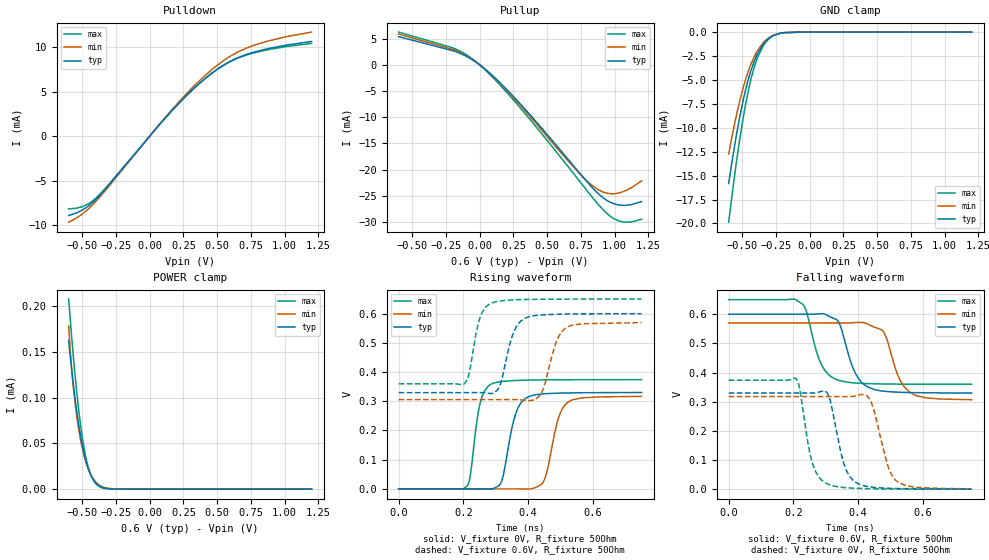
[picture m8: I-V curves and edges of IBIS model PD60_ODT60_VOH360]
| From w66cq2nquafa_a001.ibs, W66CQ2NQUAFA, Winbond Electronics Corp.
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[Model]   PD60_ODT60_VOH360
Model_type   I/O
Polarity   Non-Inverting
Enable   Active-Low
Vinl = 0.11
Vinh = 0.25
Vmeas = 0.18
Vref = 0
Cref = 0pF
Rref = 60
|   typ   min   max
C_comp   0.85pF   0.80pF   0.90pF
[Voltage Range]   0.6   0.57   0.65
[Temperature Range]   25   95   -40
[Pullup Reference]   0.6   0.57   0.65
[Pulldown Reference]   0   0   0
[Power Clamp Reference]   0.6   0.57   0.65
[GND Clamp Reference]   0   0   0
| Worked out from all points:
|   slope of the pulldown table from 0 to 0.09 V, typ, clamps not added: 56.1 ohm
|   slope of the pullup table from 0 to 0.09 V, typ, clamps not added: 46.4 ohm
|   GND clamp passes 1 mA (typ) near -0.33 V on its own axis
|   falling waveform, V_fixture 0.6V, R_fixture 50Ohm: 20-80 % time 49.4ps typ, 49.3ps min, 46.6ps max; typ from 0.6 V to 0.33 V
|   rising waveform, V_fixture 0V, R_fixture 50Ohm: 20-80 % time 37.1ps typ, 38.2ps min, 28.2ps max; typ from 0 V to 0.33 V
|   rising waveform, V_fixture 0.6V, R_fixture 50Ohm: 20-80 % time 38.5ps typ, 40.9ps min, 31.6ps max; typ from 0.33 V to 0.6 V
|   falling waveform, V_fixture 0V, R_fixture 50Ohm: 20-80 % time 41.6ps typ, 44.5ps min, 37.4ps max; typ from 0.33 V to 0 V
[Pulldown]
|   Voltage   I(typ)   I(min)   I(max)
-600mV    -8.908mA   -9.665mA   -8.165mA
-498.6mV  -8.298mA   -8.738mA   -7.921mA
-455.7mV  -7.864mA   -8.195mA   -7.621mA
-408.9mV  -7.245mA   -7.496mA   -7.107mA
-305.3mV  -5.522mA   -5.694mA   -5.466mA
159mV     2.779mA    2.878mA    2.772mA
332.1mV   5.441mA    5.69mA     5.423mA
502.4mV   7.547mA    7.991mA    7.516mA
620.7mV   8.597mA    9.195mA    8.556mA
761.4mV   9.402mA    10.16mA    9.324mA
1.013V    10.23mA    11.18mA    10.07mA
1.2V      10.65mA    11.7mA     10.43mA
[GND Clamp]
|   Voltage   I(typ)   I(min)   I(max)
-600mV    -15.82mA   -12.76mA   -19.87mA
-549.6mV  -11.34mA   -9.151mA   -14.31mA
-525.2mV  -9.427mA   -7.619mA   -11.87mA
-498.6mV  -7.533mA   -6.133mA   -9.45mA
-473.9mV  -5.995mA   -4.918mA   -7.468mA
-446.7mV  -4.556mA   -3.767mA   -5.625mA
-410.2mV  -3.034mA   -2.566mA   -3.634mA
-387.6mV  -2.318mA   -1.964mA   -2.709mA
-343.9mV  -1.278mA   -1.111mA   -1.435mA
-291.6mV  -535.1uA   -502.7uA   -577.2uA
-191.9mV  -65.37uA   -69.61uA   -51.49uA
1.2V      0A         0A         0A
[Pullup]
|   Voltage   I(typ)   I(min)   I(max)
-600mV    5.379mA    5.87mA     6.249mA
-196.8mV  2.675mA    2.919mA    3.227mA
-109.8mV  1.78mA     1.892mA    2.107mA
-2mV      35.51uA    40.25uA    45.08uA
123mV     -2.729mA   -2.841mA   -3.089mA
276.1mV   -6.772mA   -7.025mA   -7.478mA
745.2mV   -20.83mA   -20.9mA    -22.39mA
871.2mV   -24.43mA   -23.74mA   -26.45mA
953.4mV   -26.06mA   -24.57mA   -28.63mA
1.028V    -26.76mA   -24.49mA   -29.8mA
1.124V    -26.71mA   -23.49mA   -30.01mA
1.2V      -26.11mA   -22.16mA   -29.49mA
[POWER Clamp]
|   Voltage   I(typ)   I(min)   I(max)
-600mV    162.4uA    178.3uA    207.7uA
-579.8mV  133.5uA    134.9uA    169.9uA
-552.7mV  99.19uA    93.79uA    124.6uA
-524.8mV  69.88uA    64.22uA    85.05uA
-498.6mV  47.71uA    44.41uA    55.84uA
-474.6mV  32.04uA    30.61uA    35.74uA
-455.7mV  22.7uA     22.52uA    24.17uA
-433mV    14.43uA    15.12uA    14.41uA
-388.5mV  5.393uA    6.216uA    4.482uA
-336.7mV  1.369uA    1.869uA    891.5nA
-257.4mV  74.17nA    248.9nA    6.194nA
1.2V      0A         0A         0A
[Ramp]
R_load = 50
|   typ   min   max
dV/dt_r 1.9798E-01/3.6909E-11   1.9011E-01/3.8165E-11   2.2434E-01/2.8200E-11
dV/dt_f 1.6214E-01/4.9384E-11   1.5799E-01/4.9201E-11   1.7410E-01/4.6618E-11
[Falling Waveform]
V_fixture = 0.6V
V_fixture_min = 0.57V
V_fixture_max = 0.65V
R_fixture = 50Ohm
C_fixture = 0F
|   Time   V(typ)   V(min)   V(max)
0s        600mV      570mV      650mV
229ps     600mV      570mV      633.3mV
285ps     601.8mV    570mV      430.2mV
331ps     582.6mV    570mV      377mV
384ps     414.9mV    570.7mV    364.7mV
421ps     356.4mV    569.8mV    362.3mV
478ps     336.2mV    539.9mV    360.8mV
520ps     332.8mV    397.2mV    360.3mV
556ps     331.5mV    335.1mV    360.1mV
750ps     329.8mV    306.7mV    359.8mV
[Rising Waveform]
V_fixture = 0V
V_fixture_min = 0V
V_fixture_max = 0V
R_fixture = 50Ohm
C_fixture = 0F
|   Time   V(typ)   V(min)   V(max)
0s        5.397uV    17.78uV    1.065uV
211ps     3.899uV    17.78uV    9.963mV
251ps     44.58uV    17.89uV    291.1mV
286ps     -507.6uV   16.9uV     359mV
318ps     26.79mV    19.77uV    367.7mV
354ps     229.7mV    57.66uV    370.7mV
391ps     309.4mV    -621.1uV   372.2mV
447ps     325.3mV    24.42mV    373.2mV
520ps     328.4mV    294.9mV    373.7mV
750ps     330mV      316.9mV    373.9mV
[Rising Waveform]
V_fixture = 0.6V
V_fixture_min = 0.57V
V_fixture_max = 0.65V
R_fixture = 50Ohm
C_fixture = 0F
|   Time   V(typ)   V(min)   V(max)
0s        329.6mV    305.6mV    359.8mV
202ps     329.6mV    305.6mV    359.2mV
251ps     329.8mV    305.6mV    586mV
294ps     328.6mV    305.6mV    639.2mV
314ps     358.4mV    305.6mV    643.6mV
354ps     533.5mV    305.7mV    647.2mV
391ps     584.8mV    303.5mV    648.6mV
442ps     595.6mV    331.4mV    649.4mV
514ps     598.5mV    549.8mV    649.8mV
750ps     599.9mV    569.5mV    650mV
[Falling Waveform]
|Gnd
V_fixture = 0V
V_fixture_min = 0V
V_fixture_max = 0V
R_fixture = 50Ohm
C_fixture = 0F
|   Time   V(typ)   V(min)   V(max)
0s        330mV      317.5mV    373.9mV
208ps     330mV      317.5mV    379.5mV
256ps     329.7mV    317.5mV    99.07mV
303ps     331.7mV    317.5mV    18.73mV
354ps     93.06mV    317.3mV    5.844mV
392ps     23.67mV    320.2mV    3.008mV
436ps     7.897mV    307.5mV    1.532mV
493ps     3.18mV     74.99mV    597.6uV
520ps     2.248mV    26.03mV    385.3uV
750ps     114.2uV    959.8uV    -15.44uV
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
